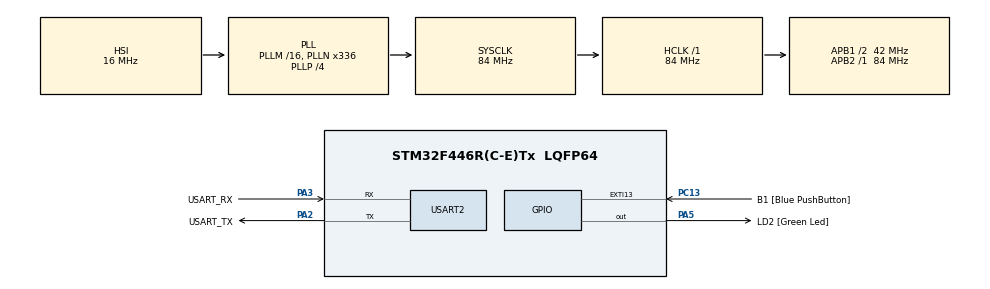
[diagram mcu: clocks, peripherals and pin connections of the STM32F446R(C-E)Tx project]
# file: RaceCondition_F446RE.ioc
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FREERTOS.Tasks01=defaultTask,24,128,StartDefaultTask,Default,NULL,Dynamic,NULL,NULL
FREERTOS.configENABLE_FPU=1
FREERTOS.configUSE_NEWLIB_REENTRANT=1
Mcu.Family=STM32F4
Mcu.Name=STM32F446R(C-E)Tx
Mcu.Package=LQFP64
NVIC.PriorityGroup=NVIC_PRIORITYGROUP_4
PA13.GPIO_Label=TMS
PA13.Mode=Serial_Wire
PA13.Signal=SYS_JTMS-SWDIO
PA14.GPIO_Label=TCK
PA14.Mode=Serial_Wire
PA14.Signal=SYS_JTCK-SWCLK
PA2.GPIO_Label=USART_TX
PA2.Mode=Asynchronous
PA2.Signal=USART2_TX
PA3.GPIO_Label=USART_RX
PA3.Mode=Asynchronous
PA3.Signal=USART2_RX
PA5.GPIO_Label=LD2 [Green Led]
PA5.Signal=GPIO_Output
PB3.GPIO_Label=SWO
PB3.Signal=SYS_JTDO-SWO
PC13.GPIO_Label=B1 [Blue PushButton]
PC13.GPIO_ModeDefaultEXTI=GPIO_MODE_IT_FALLING
PC13.Signal=GPXTI13
PC14-OSC32_IN.Mode=LSE-External-Oscillator
PC14-OSC32_IN.Signal=RCC_OSC32_IN
PC15-OSC32_OUT.Mode=LSE-External-Oscillator
PC15-OSC32_OUT.Signal=RCC_OSC32_OUT
PH0-OSC_IN.Mode=HSE-External-Oscillator
PH0-OSC_IN.Signal=RCC_OSC_IN
PH1-OSC_OUT.Mode=HSE-External-Oscillator
PH1-OSC_OUT.Signal=RCC_OSC_OUT
ProjectManager.HeapSize=0x200
ProjectManager.StackSize=0x400
ProjectManager.TargetToolchain=STM32CubeIDE
RCC.48MHZClocksFreq_Value=84000000
RCC.AHBFreq_Value=84000000
RCC.APB1CLKDivider=RCC_HCLK_DIV2
RCC.APB1Freq_Value=42000000
RCC.APB1TimFreq_Value=84000000
RCC.APB2Freq_Value=84000000
RCC.APB2TimFreq_Value=84000000
RCC.CortexFreq_Value=84000000
RCC.FLatency-AdvancedSettings=FLASH_LATENCY_2
RCC.HCLKFreq_Value=84000000
RCC.HSE_VALUE=8000000
RCC.HSI_VALUE=16000000
RCC.PLLN=336
RCC.PLLP=RCC_PLLP_DIV4
RCC.SYSCLKFreq_VALUE=84000000
RCC.SYSCLKSource=RCC_SYSCLKSOURCE_PLLCLK
RCC.USBFreq_Value=168000000
RCC.VCOOutputFreq_Value=336000000
USART2.VirtualMode=VM_ASYNC
VP_FREERTOS_VS_CMSIS_V2.Mode=CMSIS_V2
board=NUCLEO-F446RE

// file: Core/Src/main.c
/* USER CODE BEGIN Header */
/**
  ******************************************************************************
  * @file           : main.c
  * @brief          : Main program body
  ******************************************************************************
  * @attention
  *
  * Copyright (c) 2022 STMicroelectronics.
  * All rights reserved.
  *
  * This software is licensed under terms that can be found in the LICENSE file
  * in the root directory of this software component.
  * If no LICENSE file comes with this software, it is provided AS-IS.
  *
  ******************************************************************************
  */
/* USER CODE END Header */
#include "main.h"
#include "cmsis_os.h"
#include "usart.h"
#include "gpio.h"

/* USER CODE BEGIN Includes */
#include <stdint.h>

#include "FreeRTOS.h"
#include "task.h"
#include "semphr.h"
/* USER CODE END Includes */

/* USER CODE BEGIN PM */
#define COUNT_VALUE		100000U
/* USER CODE END PM */

void SystemClock_Config(void);
void MX_FREERTOS_Init(void);

/* USER CODE BEGIN 0 */

SemaphoreHandle_t mutex;

static uint32_t counter;

void add(void* params) {
	uint32_t index = 0U;

	for (index = 0U; index < (COUNT_VALUE); index++) {

		xSemaphoreTake(mutex, HAL_MAX_DELAY);
		counter++;
		xSemaphoreGive(mutex);
	}

	while(1) {
		__NOP();
	}
}
/* USER CODE END 0 */

int main(void)
{

  /* MCU Configuration--------------------------------------------------------*/

  /* Reset of all peripherals, Initializes the Flash interface and the Systick. */
  HAL_Init();

  /* Configure the system clock */
  SystemClock_Config();

  /* Initialize all configured peripherals */
  MX_GPIO_Init();
  MX_USART2_UART_Init();
  /* USER CODE BEGIN 2 */
#if 0
  /* USER CODE END 2 */

  /* Init scheduler */
  osKernelInitialize();  /* Call init function for freertos objects (in freertos.c) */
  MX_FREERTOS_Init();

  /* Start scheduler */
  osKernelStart();

  /* We should never get here as control is now taken by the scheduler */
  /* Infinite loop */
  /* USER CODE BEGIN WHILE */
#endif

  mutex = xSemaphoreCreateMutex();

  xTaskCreate(add, "add_1", (configMINIMAL_STACK_SIZE) + 128U, NULL, tskIDLE_PRIORITY + 1, NULL);
  xTaskCreate(add, "add_2", (configMINIMAL_STACK_SIZE) + 128U, NULL, tskIDLE_PRIORITY + 1, NULL);
  xTaskCreate(add, "add_3", (configMINIMAL_STACK_SIZE) + 128U, NULL, tskIDLE_PRIORITY + 1, NULL);

  vTaskStartScheduler();
  while (1)
  {
    /* USER CODE END WHILE */

  }
}

void SystemClock_Config(void)
{
  RCC_OscInitTypeDef RCC_OscInitStruct = {0};
  RCC_ClkInitTypeDef RCC_ClkInitStruct = {0};

  /** Configure the main internal regulator output voltage
  */
  __HAL_RCC_PWR_CLK_ENABLE();
  __HAL_PWR_VOLTAGESCALING_CONFIG(PWR_REGULATOR_VOLTAGE_SCALE3);

  /** Initializes the RCC Oscillators according to the specified parameters
  * in the RCC_OscInitTypeDef structure.
  */
  RCC_OscInitStruct.OscillatorType = RCC_OSCILLATORTYPE_HSI;
  RCC_OscInitStruct.HSIState = RCC_HSI_ON;
  RCC_OscInitStruct.HSICalibrationValue = RCC_HSICALIBRATION_DEFAULT;
  RCC_OscInitStruct.PLL.PLLState = RCC_PLL_ON;
  RCC_OscInitStruct.PLL.PLLSource = RCC_PLLSOURCE_HSI;
  RCC_OscInitStruct.PLL.PLLM = 16;
  RCC_OscInitStruct.PLL.PLLN = 336;
  RCC_OscInitStruct.PLL.PLLP = RCC_PLLP_DIV4;
  RCC_OscInitStruct.PLL.PLLQ = 2;
  RCC_OscInitStruct.PLL.PLLR = 2;
  if (HAL_RCC_OscConfig(&RCC_OscInitStruct) != HAL_OK)
  {
    Error_Handler();
  }

  /** Initializes the CPU, AHB and APB buses clocks
  */
  RCC_ClkInitStruct.ClockType = RCC_CLOCKTYPE_HCLK|RCC_CLOCKTYPE_SYSCLK
                              |RCC_CLOCKTYPE_PCLK1|RCC_CLOCKTYPE_PCLK2;
  RCC_ClkInitStruct.SYSCLKSource = RCC_SYSCLKSOURCE_PLLCLK;
  RCC_ClkInitStruct.AHBCLKDivider = RCC_SYSCLK_DIV1;
  RCC_ClkInitStruct.APB1CLKDivider = RCC_HCLK_DIV2;
  RCC_ClkInitStruct.APB2CLKDivider = RCC_HCLK_DIV1;

  if (HAL_RCC_ClockConfig(&RCC_ClkInitStruct, FLASH_LATENCY_2) != HAL_OK)
  {
    Error_Handler();
  }
}

void Error_Handler(void)
{
  __disable_irq();
  while (1)
  {
  }
}
